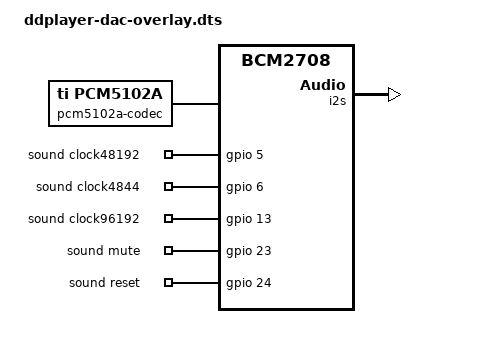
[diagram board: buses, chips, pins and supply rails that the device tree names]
// Definitions for HiFiBerry DAC
/dts-v1/;
/plugin/;

/ {
	compatible = "brcm,bcm2708";

	fragment@0 {
		target = <&i2s>;
		__overlay__ {
			status = "okay";
		};
	};

	fragment@1 {
		target-path = "/";
		__overlay__ {
			pcm5102a-codec {
				#sound-dai-cells = <0>;
				compatible = "ti,pcm5102a";
				status = "okay";
			};
		};
	};

	fragment@2 {
		target = <&sound>;
		__overlay__ {
			compatible = "hifiberry,hifiberry-dac,ddplayer,ddplayer-dac";
			i2s-controller = <&i2s>;
			status = "okay";
                        clock48192-gpio = <&gpio 5 0>;
                        clock4844-gpio = <&gpio 6 0>;
                        clock96192-gpio = <&gpio 13 0>;
                        mute-gpio = <&gpio 23 0>;
                        reset-gpio = <&gpio 24 0>;
		};
	};
};
